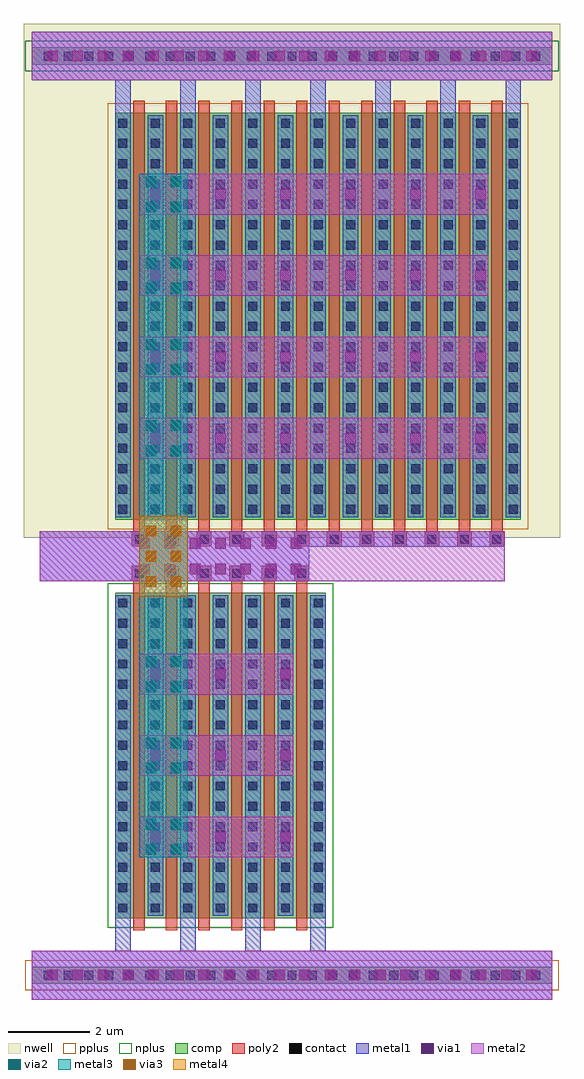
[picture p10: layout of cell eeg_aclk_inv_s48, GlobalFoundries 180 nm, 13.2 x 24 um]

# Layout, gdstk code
import gdstk
lib = gdstk.Library(unit=1e-6, precision=1e-09)
def R(c, l, rs):  # rectangles x0, y0, x1, y1
    for r in rs: c.add(gdstk.rectangle(r[:2], r[2:], *l))
def A(c, l, x, y, w, h, nx, ny, dx, dy):  # array of equal rectangles
    R(c, l, [(x+i*dx, y+j*dy, x+i*dx+w, y+j*dy+h) for i in range(nx) for j in range(ny)])
nwell = (21, 0)
comp = (22, 0)
poly2 = (30, 0)
pplus = (31, 0)
nplus = (32, 0)
contact = (33, 0)
metal1 = (34, 0)
via1 = (35, 0)
metal2 = (36, 0)
via2 = (38, 0)
via3 = (40, 0)
metal3 = (42, 0)
metal4 = (46, 0)

eeg_aclk_inv_s48 = lib.new_cell('eeg_aclk_inv_s48')
R(eeg_aclk_inv_s48, nwell, [(-0.2,11.35,13,24)])
R(eeg_aclk_inv_s48, comp, [(0,0.39,12.8,0.81), (2.05,2,7.23,10), (2.05,11.8,12.03,21.8), (0,22.99,12.8,23.41)])
A(eeg_aclk_inv_s48, poly2, 2.5, 1.7, 0.28, 8.96, 6, 1, 0.8, 0)
A(eeg_aclk_inv_s48, poly2, 2.46, 10.3, 0.36, 0.36, 6, 1, 0.8, 0)
A(eeg_aclk_inv_s48, poly2, 2.46, 11.14, 0.36, 0.36, 12, 1, 0.8, 0)
A(eeg_aclk_inv_s48, poly2, 2.5, 11.14, 0.28, 10.96, 12, 1, 0.8, 0)
R(eeg_aclk_inv_s48, pplus, [(-0.16,0.23,12.96,0.97), (1.87,11.56,12.21,22.04)])
R(eeg_aclk_inv_s48, nplus, [(1.87,1.76,7.41,10.24), (-0.16,22.83,12.96,23.57)])
A(eeg_aclk_inv_s48, contact, 0.29, 0.49, 0.22, 0.22, 25, 2, 0.5, 22.6)
A(eeg_aclk_inv_s48, contact, 2.13, 2.14, 0.22, 0.22, 7, 16, 0.8, 0.5)
A(eeg_aclk_inv_s48, contact, 2.53, 10.37, 0.22, 0.22, 6, 1, 0.8, 0)
A(eeg_aclk_inv_s48, contact, 2.53, 11.21, 0.22, 0.22, 12, 1, 0.8, 0)
A(eeg_aclk_inv_s48, contact, 2.13, 11.94, 0.22, 0.22, 13, 20, 0.8, 0.5)
A(eeg_aclk_inv_s48, metal1, 2.05, 0.6, 0.38, 9.34, 4, 1, 1.6, 0)
A(eeg_aclk_inv_s48, metal1, 2.85, 2.06, 0.38, 7.88, 3, 1, 1.6, 0)
A(eeg_aclk_inv_s48, metal1, 2.05, 11.86, 0.38, 11.34, 7, 1, 1.6, 0)
A(eeg_aclk_inv_s48, metal1, 2.85, 11.86, 0.38, 9.88, 6, 1, 1.6, 0)
R(eeg_aclk_inv_s48, metal1, [(0,0,12.8,1.2), (0.2,0.1,12.6,1.1), (0,0.39,12.8,0.81), (0.2,10.29,6.83,11.51), (2.45,10.29,6.83,10.67), (2.45,10.29,6.83,11.51), (2.45,11.13,11.63,11.51), (0,22.6,12.8,23.8), (0.2,22.7,12.6,23.7), (0,22.99,12.8,23.41)])
A(eeg_aclk_inv_s48, via1, 0.38, 0.47, 0.26, 0.26, 20, 2, 0.62, 22.6)
A(eeg_aclk_inv_s48, via1, 2.91, 3.87, 0.26, 0.26, 3, 3, 1.6, 2)
A(eeg_aclk_inv_s48, via1, 2.65, 10.46, 0.26, 0.26, 7, 2, 0.62, 0.62)
A(eeg_aclk_inv_s48, via1, 2.91, 13.67, 0.26, 0.26, 6, 4, 1.6, 2)
A(eeg_aclk_inv_s48, metal2, 2.64, 3.5, 1.2, 1, 1, 3, 0, 2)
A(eeg_aclk_inv_s48, metal2, 2.85, 3.5, 3.58, 1, 1, 3, 0, 2)
A(eeg_aclk_inv_s48, metal2, 2.64, 13.3, 1.2, 1, 1, 4, 0, 2)
A(eeg_aclk_inv_s48, metal2, 2.85, 13.3, 8.38, 1, 1, 4, 0, 2)
R(eeg_aclk_inv_s48, metal2, [(0,0,12.8,1.2), (0.2,0.1,12.6,1.1), (0.2,10.29,11.63,11.51), (2.45,10.29,6.83,11.51), (0,22.6,12.8,23.8), (0.2,22.7,12.6,23.7)])
R(eeg_aclk_inv_s48, via2, [(2.8,3.56,3.06,3.82), (3.42,3.56,3.68,3.82), (2.8,4.18,3.06,4.44), (3.42,4.18,3.68,4.44), (2.8,5.56,3.06,5.82), (3.42,5.56,3.68,5.82), (2.8,6.18,3.06,6.44), (3.42,6.18,3.68,6.44), (2.8,7.56,3.06,7.82), (3.42,7.56,3.68,7.82), (2.8,8.18,3.06,8.44), (3.42,8.18,3.68,8.44), (2.8,13.36,3.06,13.62), (3.42,13.36,3.68,13.62), (2.8,13.98,3.06,14.24), (3.42,13.98,3.68,14.24), (2.8,15.36,3.06,15.62), (3.42,15.36,3.68,15.62), (2.8,15.98,3.06,16.24), (3.42,15.98,3.68,16.24), (2.8,17.36,3.06,17.62), (3.42,17.36,3.68,17.62), (2.8,17.98,3.06,18.24), (3.42,17.98,3.68,18.24), (2.8,19.36,3.06,19.62), (3.42,19.36,3.68,19.62), (2.8,19.98,3.06,20.24), (3.42,19.98,3.68,20.24)])
A(eeg_aclk_inv_s48, via3, 2.8, 10.15, 0.26, 0.26, 1, 3, 0, 0.62)
A(eeg_aclk_inv_s48, via3, 3.42, 10.15, 0.26, 0.26, 1, 3, 0, 0.62)
A(eeg_aclk_inv_s48, metal3, 2.64, 3.5, 1.2, 1, 1, 3, 0, 2)
A(eeg_aclk_inv_s48, metal3, 2.64, 13.3, 1.2, 1, 1, 4, 0, 2)
R(eeg_aclk_inv_s48, metal3, [(2.64,3.5,3.84,20.3), (2.64,9.9,3.84,11.9)])
R(eeg_aclk_inv_s48, metal4, [(2.64,9.9,3.84,11.9), (2.64,9.9,3.84,11.9)])

lib.write_gds('eeg_aclk_inv_s48.gds')
